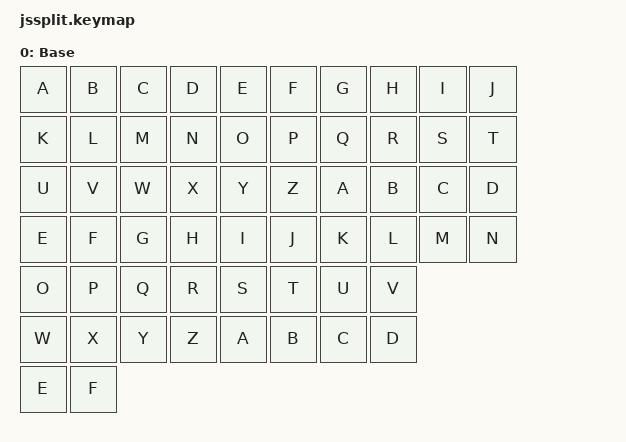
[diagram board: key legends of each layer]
#include <behaviors.dtsi>
#include <dt-bindings/zmk/keys.h>

/ {
    behaviors {
        pim447bh: pim447bh {
            compatible = "zmk,behavior-pim447";
            #binding-cells = <1>;
            
        };
    };

    keymap {
        compatible = "zmk,keymap";

        default_layer {
            display-name = "Base";
            bindings = <
                &kp A &kp B &kp C &kp D &kp E &kp F &kp G &kp H &kp I &kp J
                &kp K &kp L &kp M &kp N &kp O &kp P &kp Q &kp R &kp S &kp T
                &kp U &kp V &kp W &kp X &kp Y &kp Z &kp A &kp B &kp C &kp D
                &kp E &kp F &kp G &kp H &kp I &kp J &kp K &kp L &kp M &kp N
                &kp O &kp P &kp Q &kp R &kp S &kp T &kp U &kp V
                &kp W &kp X &kp Y &kp Z &kp A &kp B &kp C &kp D
                &kp E &kp F
            >;
        };
    };
};
